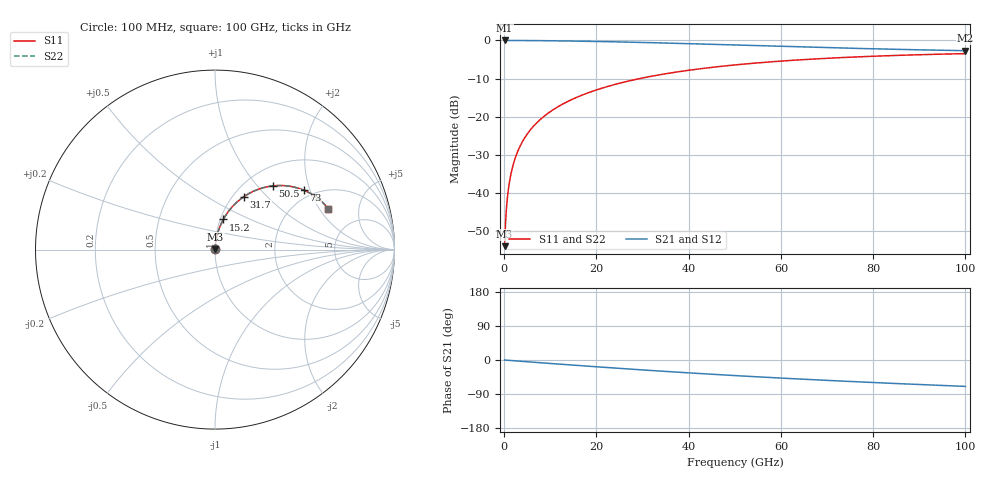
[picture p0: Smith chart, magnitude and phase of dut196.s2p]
! Touchstone file exported from HFSS 2026.1.0
!  File:  C:/ffzhzh/LocalFiles/Ansys_Project_Files/temp_train_RDL_196_1783500615_9504.aedt
!  Generated:  04:51:22 PM Jul  8, 2026
!  Design:  RDL
!  Project:  temp_train_RDL_196_1783500615_9504
! Variables:
!  h_bsmrdl = 2um
!  h_ox = 20um
!  h_rdl = 5um
!  h_sub = 80um
!  h_tmrdl = 3.71um
!  h_tsv = 80um
!  h_via = 3um
!  l_bsmrdl = 300um
!  l_sub = 587.37um
!  l_tmrdl = 187.37um
!  m_sub = 200um
!  pitch = 48.69um
!  r_tsv = 6um
!  s_tmrdl = 10um
!  w_bsmrdl = 18um
!  w_sub = 500um
!  w_tmrdl = 12.22um
!  x_tsv_center1 = 193.48um
!  x_tsv_center2 = 511.48um
!  x_tsv_center3 = 711.07um
!  x_tsv_center4 = 1029.07um
!  x_tsv_center5 = 1228.66um
!  x_tsv_center6 = 1546.66um
# GHz S MA R 50.000000
! Terminal data exported
! Port[1] = TM_RDL1_1_T1
! Port[2] = TM_RDL1_1_T2
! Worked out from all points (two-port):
!   1000 points, 100 MHz to 100 GHz, reference 50 ohm
!   highest |S21| = -0.01 dB at 100 MHz (marker M1); lowest = -2.7 dB at 100 GHz (marker M2)
!   |S21| within 3 dB of the highest: start of sweep to end of sweep
!   lowest |S11| = -53.9 dB at 100 MHz (marker M3), VSWR 1.00, Z = 50.2 + j0.124 ohm
!   |S11| at or under -10 dB: start of sweep to 29.37 GHz
!   |S22| runs from -53.9 to -3.5 dB; largest |S21 - S12| = 3.3e-15
!   S11 on the Smith chart (normalised r, x): 100 MHz: 1.00, +0.00; 15.2 GHz: 1.03, +0.36; 31.7 GHz: 1.12, +0.75; 50.5 GHz: 1.32, +1.22; 73 GHz: 1.77, +1.81; 100 GHz: 2.94, +2.43
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0.1  0.002027 37.7  0.9984 -0.1  0.9984 -0.1  0.002027 37.7
! Gamma 0 0 0 0
! Port Impedance 50 0 50 0
0.4  0.005193 70.7  0.9983 -0.4  0.9983 -0.4  0.005193 70.7
0.8  0.009861 78.8  0.9982 -0.8  0.9982 -0.8  0.009861 78.8
1.1  0.0134 81.1  0.9981 -1.0  0.9981 -1.0  0.0134 81.1
1.4  0.01695 82.3  0.998 -1.3  0.998 -1.3  0.01695 82.3
1.9  0.02288 83.3  0.9978 -1.8  0.9978 -1.8  0.02288 83.3
2.4  0.02881 83.7  0.9976 -2.2  0.9976 -2.2  0.02881 83.7
3.7  0.04419 83.6  0.9967 -3.4  0.9967 -3.4  0.04419 83.6
5.6  0.06645 82.5  0.9951 -5.2  0.9951 -5.2  0.06645 82.5
8.1  0.09529 80.5  0.9921 -7.5  0.9921 -7.5  0.09529 80.5
11.3  0.1314 77.9  0.9872 -10.3  0.9872 -10.3  0.1314 77.9
15.2  0.1742 74.6  0.9798 -13.8  0.9798 -13.8  0.1742 74.6
16.8  0.1913 73.3  0.9764 -15.2  0.9764 -15.2  0.1913 73.3
23.5  0.2602 67.8  0.9595 -20.9  0.9595 -20.9  0.2602 67.8
31.7  0.3373 61.3  0.9346 -27.6  0.9346 -27.6  0.3373 61.3
33.4  0.3522 60.0  0.929 -28.9  0.929 -28.9  0.3522 60.0
50.1  0.4781 47.9  0.8707 -41.2  0.8707 -41.2  0.4781 47.9
50.5  0.4807 47.6  0.8693 -41.5  0.8693 -41.5  0.4806 47.6
66.7  0.5687 37.4  0.8147 -51.8  0.8147 -51.8  0.5687 37.4
73  0.5953 33.8  0.7957 -55.5  0.7957 -55.5  0.5953 33.8
83.4  0.6312 28.1  0.7678 -61.3  0.7678 -61.3  0.6312 28.1
100  0.6714 19.8  0.7335 -69.7  0.7335 -69.7  0.6713 19.8
